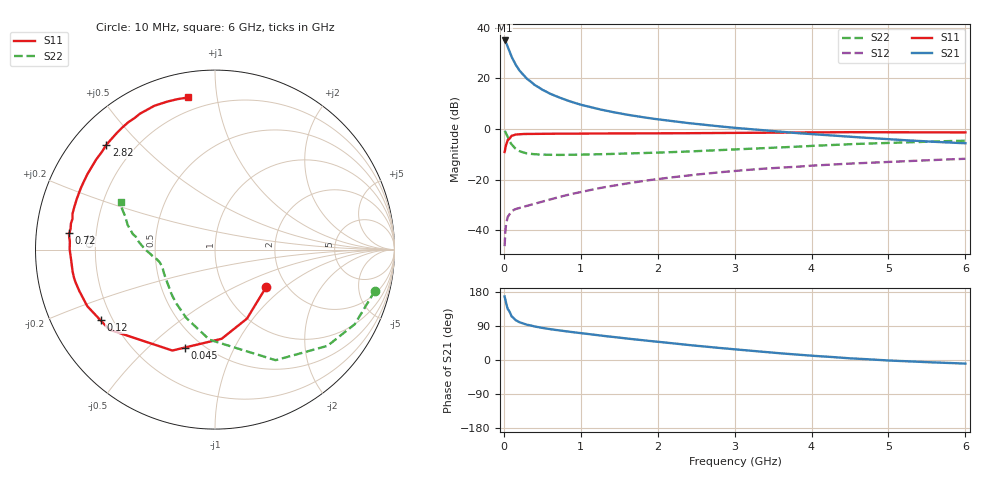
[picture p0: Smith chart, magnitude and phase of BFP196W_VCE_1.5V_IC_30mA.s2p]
! (c) 2016  Infineon Technologies AG, Munich
! Infineon Technologies  Discrete & RF Semiconductors
! BFP196W
! VCE = 1.5 V,  IC =  30mA
! Common Emitter S-Parameters:  Jan 2016
# GHz  S  MA  R  50
!  f  S11  S21  S12  S22
! GHz  MAG  ANG  MAG  ANG  MAG  ANG  MAG  ANG
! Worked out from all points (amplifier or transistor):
!   210 points, 10 MHz to 6 GHz, reference 50 ohm
!   highest |S21| = 35.0 dB at 10 MHz (marker M1)
!   |S21| within 3 dB of that: start of sweep to 56.7 MHz
!   unconditionally stable (mu >= 1): 740.8 MHz to 3.337 GHz
!   at 185 MHz: K = 0.44, MSG = 27.6 dB, |S12| = -31.3 dB
!   at 1.52 GHz: K = 1.13, MAG = 11.8 dB, |S12| = -21.8 dB
!   at 6 GHz: K = 0.97, MSG = 3.1 dB, |S12| = -11.7 dB
!   S11 on the Smith chart (normalised r, x): 10 MHz: 1.58, -0.75; 45 MHz: 0.40, -0.66; 120 MHz: 0.15, -0.28; 720 MHz: 0.10, +0.06; 2.82 GHz: 0.10, +0.40; 6 GHz: 0.13, +0.83
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0.01  0.3532 -36.1  56.09 167.6  0.0049 77.7  0.9204 -14.4
0.02  0.4236 -65.1  54.28 158.4  0.0098 69.8  0.8826 -28.1
0.03  0.4982 -85.7  50.56 149.3  0.0136 62.9  0.8251 -40.5
0.045  0.5714 -107.2  43.79 138.8  0.0171 53.0  0.7233 -55.5
0.05  0.6104 -112.9  41.93 134.6  0.0184 50.6  0.7024 -61.3
0.1  0.7384 -142.8  26.75 115.2  0.024 37.7  0.5032 -93.5
0.12  0.7494 -148.3  23.57 112.0  0.0249 36.1  0.461 -100.3
0.15  0.7783 -156.1  19 105.3  0.0264 33.9  0.4129 -112.9
0.2  0.7903 -163.0  14.52 99.9  0.0277 34.0  0.3697 -125.5
0.26  0.801 -168.6  11.41 95.5  0.0295 35.4  0.3444 -135.2
0.3  0.8027 -171.3  9.834 93.1  0.0305 36.7  0.331 -140.5
0.4  0.8039 -176.4  7.442 88.4  0.0337 40.7  0.3196 -148.9
0.5  0.8099 179.9  5.991 84.6  0.037 44.3  0.3139 -154.4
0.72  0.817 173.6  4.216 78.1  0.0457 50.1  0.3095 -161.1
1.02  0.8136 167.3  2.975 70.4  0.0581 54.2  0.3139 -165.9
1.4  0.8202 160.0  2.193 61.2  0.0754 56.3  0.3234 -169.2
2.02  0.8259 149.1  1.548 47.6  0.1043 55.4  0.3442 -173.4
2.82  0.8406 136.1  1.126 31.6  0.1412 50.4  0.3851 -179.6
3.1  0.8461 131.8  1.03 26.4  0.1537 48.1  0.4031 177.6
4.1  0.8651 117.8  0.779 10.1  0.1936 40.2  0.4736 168.2
5.1  0.8656 107.1  0.618 -2.1  0.2286 32.2  0.5407 158.9
6  0.8608 99.9  0.525 -9.5  0.2597 25.8  0.5899 153.0
